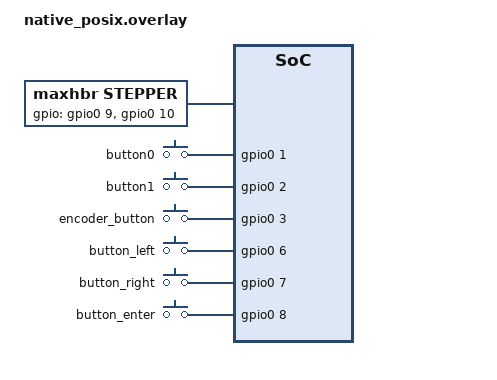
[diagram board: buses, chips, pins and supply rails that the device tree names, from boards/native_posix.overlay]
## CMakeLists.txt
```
# SPDX-License-Identifier: Apache-2.0

cmake_minimum_required(VERSION 3.20.0)

set(CMAKE_C_FLAGS -lstdc++)
set(CMAKE_CXX_FLAGS -lstdc++)

set(BOARD xiao_nrf54l15/nrf54l15/cpuapp)

# Add DTS bindings path BEFORE find_package(Zephyr)
list(APPEND DTS_ROOT ${CMAKE_CURRENT_SOURCE_DIR}/../lib/stepper_with_target)
list(APPEND DTS_ROOT ${CMAKE_CURRENT_SOURCE_DIR}/boards)

# Add shield root BEFORE find_package(Zephyr)
list(APPEND BOARD_ROOT ${CMAKE_CURRENT_SOURCE_DIR})

# Capture Git commit hash before find_package
execute_process(
  COMMAND git rev-parse --short HEAD
  WORKING_DIRECTORY ${CMAKE_CURRENT_SOURCE_DIR}
  OUTPUT_VARIABLE GIT_COMMIT_HASH
  OUTPUT_STRIP_TRAILING_WHITESPACE
  ERROR_QUIET
)
if(NOT GIT_COMMIT_HASH)
  set(GIT_COMMIT_HASH "unknown")
else()
    # Optionally detect if the working tree is dirty
    execute_process(
        COMMAND git diff --quiet --ignore-submodules HEAD
        RESULT_VARIABLE GIT_DIRTY
    )

    if (GIT_DIRTY EQUAL 1)
        set(GIT_COMMIT_HASH "${GIT_COMMIT_HASH}-dirty")
    endif()
endif()

find_package(Zephyr REQUIRED HINTS $ENV{ZEPHYR_BASE})
project(zephyr-rail)

# Define BUILD_COMMIT as a string macro
add_compile_definitions(BUILD_COMMIT="${GIT_COMMIT_HASH}")

zephyr_library_compile_options(-lstdc++ -std=c++17 -fpermissive)

# Add the sony_remote library
add_subdirectory(../lib/sony_remote ${CMAKE_CURRENT_BINARY_DIR}/sony_remote)

# Add stepper_with_target library (includes the driver)
add_subdirectory(../lib/stepper_with_target ${CMAKE_CURRENT_BINARY_DIR}/stepper_with_target)

FILE(GLOB app_sources src/*.cpp)

if(NOT CONFIG_BT)
    list(FILTER app_sources EXCLUDE REGEX "pwa_service\\.cpp$")
endif()

target_sources(app PRIVATE ${app_sources})

# Link the libraries
target_link_libraries(app PRIVATE sony_remote stepper_with_target)
```

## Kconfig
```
# SPDX-License-Identifier: Apache-2.0

source "Kconfig.zephyr"

rsource "drivers/Kconfig"
```

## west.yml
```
# Auto-generated by init.sh, Do not edit!
manifest:
  defaults:
    remote: zephyrproject-rtos
  remotes:
    - name: zephyrproject-rtos
      url-base: https://github.com/zephyrproject-rtos
  projects:
    - name: zephyr
      remote: zephyrproject-rtos
      revision: 9421b826994788e717e7010a46d38b3722bf2c6f # generated from flake.nix
      clone-depth: 1
      import: true
  self:
    path: app
```

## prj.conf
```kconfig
CONFIG_CPP=y
CONFIG_REQUIRES_FULL_LIBCPP=y
CONFIG_STD_CPP17=y
CONFIG_CBPRINTF_FP_SUPPORT=y

CONFIG_LOG=y
CONFIG_SHELL=y
CONFIG_CONSOLE=y
CONFIG_UART_CONSOLE=y
CONFIG_SERIAL=y
# CONFIG_LOG_BACKEND_UART=y

###############################################################################
### Stepper
CONFIG_STEPPER=y
CONFIG_SIMPLE_STEPPER=y
# CONFIG_STEPPER_SHELL=y
CONFIG_GPIO=y
CONFIG_POLL=y

###############################################################################
### Bluetooth
CONFIG_BT=y
CONFIG_BT_CENTRAL=y
CONFIG_BT_PERIPHERAL=y
CONFIG_BT_GATT_CLIENT=y
CONFIG_BT_DEVICE_NAME="ZephyrRail"

# Support multiple connections (1 for PWA, 1 for Sony camera)
CONFIG_BT_MAX_CONN=2
CONFIG_BT_MAX_PAIRED=2
CONFIG_BT_EXT_ADV=y
CONFIG_BT_EXT_ADV_MAX_ADV_SET=2

# Enable pairing and bonding
CONFIG_BT_SMP=y
CONFIG_BT_BONDABLE=y
CONFIG_BT_SMP_SC_PAIR_ONLY=y

# Enable SMP debugging
# CONFIG_BT_SMP_LOG_LEVEL_DBG=y

# Persist bonds so the camera reconnects automatically
CONFIG_SETTINGS=y
CONFIG_BT_SETTINGS=y

###############################################################################
### State machine framework
CONFIG_SMF=y
CONFIG_SMF_ANCESTOR_SUPPORT=y

###############################################################################
### zbus
CONFIG_ZBUS=y
# CONFIG_ZBUS_LOG_LEVEL_INF=y
CONFIG_ZBUS_CHANNEL_NAME=y
CONFIG_ZBUS_OBSERVER_NAME=y
CONFIG_ZBUS_RUNTIME_OBSERVERS=y
```

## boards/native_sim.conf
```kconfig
# CONFIG_SHELL=y
# CONFIG_SHELL_BACKEND_SERIAL=y
CONFIG_NATIVE_UART_0_ON_STDINOUT=y
CONFIG_SHELL_BACKEND_SERIAL_INTERRUPT_DRIVEN=n
# # CONFIG_SHELL_BACKEND_DUMMY=y
CONFIG_STEPPER=y
# Disable fake stepper driver to avoid FFF dependency
CONFIG_FAKE_STEPPER=n

# Disable all other log backends
CONFIG_LOG_BACKEND_NATIVE_POSIX=n
CONFIG_LOG_BACKEND_UART=n
CONFIG_LOG_BACKEND_RTT=n

CONFIG_BT=n
```

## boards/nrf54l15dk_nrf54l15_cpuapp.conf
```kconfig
CONFIG_BT_DEVICE_NAME="ZephyrRailNRF54L15DK"

# General settings
CONFIG_HEAP_MEM_POOL_SIZE=16384
CONFIG_MAIN_STACK_SIZE=4096
CONFIG_SYSTEM_WORKQUEUE_STACK_SIZE=4096

# Increase BT stack sizes
CONFIG_BT_RX_STACK_SIZE=2048

# Additional BT settings for stability
CONFIG_BT_BUF_ACL_RX_SIZE=251
CONFIG_BT_BUF_ACL_TX_SIZE=251
CONFIG_BT_L2CAP_TX_MTU=247
CONFIG_BT_BUF_ACL_TX_COUNT=6
CONFIG_BT_BUF_ACL_RX_COUNT_EXTRA=5
CONFIG_BT_L2CAP_TX_BUF_COUNT=6


# Controller side
CONFIG_BT_CTLR_ADV_EXT=y
CONFIG_BT_CTLR_ADV_SET=2
          # match or exceed host’s value


# # HCI/ACL buffers (tune upward if you move more data or have more links)
# CONFIG_BT_BUF_RX_SIZE=251

# Event buffers
CONFIG_BT_BUF_EVT_RX_COUNT=12
CONFIG_BT_BUF_EVT_DISCARDABLE_COUNT=8
```

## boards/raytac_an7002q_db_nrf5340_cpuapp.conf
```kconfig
CONFIG_BT_DEVICE_NAME="ZephyrRailAN7002Q"

# General settings
CONFIG_HEAP_MEM_POOL_SIZE=16384
CONFIG_MAIN_STACK_SIZE=4096
CONFIG_SYSTEM_WORKQUEUE_STACK_SIZE=4096

# Increase BT stack sizes
CONFIG_BT_RX_STACK_SIZE=2048

# Additional BT settings for stability
CONFIG_BT_BUF_ACL_RX_SIZE=251
CONFIG_BT_BUF_ACL_TX_SIZE=251
CONFIG_BT_L2CAP_TX_MTU=247
CONFIG_BT_BUF_ACL_TX_COUNT=6
CONFIG_BT_BUF_ACL_RX_COUNT_EXTRA=5
CONFIG_BT_L2CAP_TX_BUF_COUNT=6


# Controller side
CONFIG_BT_CTLR_ADV_EXT=y
CONFIG_BT_CTLR_ADV_SET=2
          # match or exceed host’s value


# # HCI/ACL buffers (tune upward if you move more data or have more links)
# CONFIG_BT_BUF_RX_SIZE=251

# Event buffers
CONFIG_BT_BUF_EVT_RX_COUNT=12
CONFIG_BT_BUF_EVT_DISCARDABLE_COUNT=8
```

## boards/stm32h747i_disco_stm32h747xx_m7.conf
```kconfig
# CONFIG_USE_SEGGER_RTT=y
# CONFIG_RTT_CONSOLE=y
# CONFIG_LOG_BACKEND_RTT=y
CONFIG_UART_CONSOLE=y
CONFIG_SERIAL=y
CONFIG_LOG_BACKEND_UART=y

# ##############################################################################
# ### bluetooth
# # Bluetooth Central with bonding & GATT client
# CONFIG_BT=y
# CONFIG_BT_CENTRAL=y
# CONFIG_BT_SMP=y                 # pairing/bonding
# CONFIG_BT_GATT_CLIENT=y

# # Persist bonds so the camera reconnects automatically
# CONFIG_SETTINGS=y
# CONFIG_BT_SETTINGS=y
```

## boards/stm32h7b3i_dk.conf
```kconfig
# CONFIG_USE_SEGGER_RTT=y
# CONFIG_RTT_CONSOLE=y
# CONFIG_LOG_BACKEND_RTT=y
CONFIG_UART_CONSOLE=y
CONFIG_SERIAL=y
CONFIG_LOG_BACKEND_UART=y

###############################################################################
### bluetooth
# Bluetooth Central with bonding & GATT client
CONFIG_BT=y
CONFIG_BT_CENTRAL=y
CONFIG_BT_SMP=y                 # pairing/bonding
CONFIG_BT_GATT_CLIENT=y

# Persist bonds so the camera reconnects automatically
CONFIG_SETTINGS=y
CONFIG_BT_SETTINGS=y
```

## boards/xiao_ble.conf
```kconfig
CONFIG_BT_DEVICE_NAME="ZephyrRailXble"

CONFIG_MAIN_STACK_SIZE=4096
CONFIG_SYSTEM_WORKQUEUE_STACK_SIZE=4096
CONFIG_HEAP_MEM_POOL_SIZE=16384
# CONFIG_HEAP_MEM_POOL_SIZE=55120

# Controller side
CONFIG_BT_CTLR_ADV_EXT=y
CONFIG_BT_CTLR_ADV_SET=2
          # match or exceed host’s value


# # HCI/ACL buffers (tune upward if you move more data or have more links)
CONFIG_BT_BUF_ACL_TX_SIZE=251
CONFIG_BT_BUF_ACL_RX_SIZE=251
CONFIG_BT_BUF_ACL_TX_COUNT=11
CONFIG_BT_BUF_ACL_RX_COUNT_EXTRA=11
CONFIG_BT_L2CAP_TX_MTU=247
CONFIG_BT_L2CAP_TX_BUF_COUNT=12

# Event buffers
CONFIG_BT_BUF_EVT_RX_COUNT=12
CONFIG_BT_BUF_EVT_DISCARDABLE_COUNT=8
```

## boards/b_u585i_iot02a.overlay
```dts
/*
 *
 * SPDX-License-Identifier: Apache-2.0
 */
/ {
    stepper: stepper {
        compatible = "maxhbr,stepper";
        gpios = <&gpiog 7 GPIO_ACTIVE_HIGH>, /* Pmod 8 */
                <&gpioe 4 GPIO_ACTIVE_HIGH>; /* Pmod 7 */
        // pitch = <2>;
        // pulses_per_rev = <50000>;
    };

    //    pwmleds {
        //        compatible = "pwm-leds";
        //        ir_pwm_led: ir_pwm_led {
            //            pwms = <&pwm8 4 4 PWM_POLARITY_NORMAL>;
            //            label = "IR LED - D3";
        //        };
    //    };

    //    chosen {
        //        rail,pwmir = &ir_pwm_led;
    //    };
};
```

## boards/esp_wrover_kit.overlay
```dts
/*
 *
 * SPDX-License-Identifier: Apache-2.0
 */
//#include <zephyr/dt-bindings/input/input-event-codes.h>
//#include <zephyr/dt-bindings/lvgl/lvgl.h>
/ {
    stepper: stepper {
        compatible = "maxhbr,stepper";
        gpios = <&gpio0 2 GPIO_ACTIVE_HIGH>, /* "Green - LED1" */
                <&gpio0 0 GPIO_ACTIVE_HIGH>;     /* Red - LED2 */
        //pitch = <2>;
        //pulses_per_rev = <50000>;
    };
};

&ili9341 {
  width = <320>;
  height = <240>;
  rotation = <90>;
};
```

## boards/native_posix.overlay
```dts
/*
 * Copyright (c) 2022, Basalte bv
 *
 * SPDX-License-Identifier: Apache-2.0
 */

#include <zephyr/dt-bindings/input/input-event-codes.h>
#include <zephyr/dt-bindings/lvgl/lvgl.h>

/ {
	aliases {
		sw0 = &button0;
	};

	stepper: stepper {
		compatible = "maxhbr,stepper";
		gpios = <&gpio0 9 GPIO_ACTIVE_HIGH>, /* A2/D2 */
		        <&gpio0 10 GPIO_ACTIVE_HIGH>;    /* A3/D3 */
		//pitch = <2>;
		//pulses_per_rev = <50000>;
	};

	keys: keys {
		compatible = "gpio-keys";
		button0: button0 {
			/* gpio0 pin 0 is already aliased to led0 */
			gpios = <&gpio0 1 GPIO_ACTIVE_HIGH>;
			zephyr,code = <INPUT_KEY_R>;
		};

		button1: button1 {
			gpios = <&gpio0 2 GPIO_ACTIVE_HIGH>;
			zephyr,code = <INPUT_KEY_B>;
		};

		encoder_button: encoder_button {
			gpios = <&gpio0 3 GPIO_ACTIVE_HIGH>;
			zephyr,code = <INPUT_KEY_0>;
		};

		button_left: button_left {
			gpios = <&gpio0 6 GPIO_ACTIVE_HIGH>;
			zephyr,code = <INPUT_KEY_LEFT>;
		};

		button_right: button_right {
			gpios = <&gpio0 7 GPIO_ACTIVE_HIGH>;
			zephyr,code = <INPUT_KEY_RIGHT>;
		};

		button_enter: button_enter {
			gpios = <&gpio0 8 GPIO_ACTIVE_HIGH>;
			zephyr,code = <INPUT_KEY_ENTER>;
		};
	};

	lvgl_button_input {
		compatible = "zephyr,lvgl-button-input";
		input = <&keys>;
		input-codes = <INPUT_KEY_B>;
		coordinates = <160 120>;
	};

	lvgl_encoder_input {
		compatible = "zephyr,lvgl-encoder-input";
		rotation-input-code = <INPUT_REL_WHEEL>;
		button-input-code = <INPUT_KEY_0>;
	};

	lvgl_keypad_input {
		compatible = "zephyr,lvgl-keypad-input";
		input = <&keys>;
		input-codes = <INPUT_KEY_LEFT INPUT_KEY_RIGHT INPUT_KEY_ENTER>;
		lvgl-codes = <LV_KEY_LEFT LV_KEY_RIGHT LV_KEY_ENTER>;
	};
};

&gpio0 {
	ngpios = <11>;

	sdl_gpio {
		status = "okay";
		compatible = "zephyr,gpio-emul-sdl";
		/* Skip pin 0 with the unknown code 0 */
		scancodes = <0 21 5 30 31 32 80 79 40 90 91>;
	};
};
```

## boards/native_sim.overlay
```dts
/*
 *
 * SPDX-License-Identifier: Apache-2.0
 */

/ {
	stepper_motor: stepper_motor {
		compatible = "simple-stepper";
		status = "okay";
		/* Mock pins for native simulation */
		step-gpios = <&gpio0 0 GPIO_ACTIVE_HIGH>;
		dir-gpios = <&gpio0 1 GPIO_ACTIVE_HIGH>;
		en-gpios = <&gpio0 2 GPIO_ACTIVE_LOW>;
		step-width-ns = <2500>;
		micro-step-res = <256>;
	};
};
```

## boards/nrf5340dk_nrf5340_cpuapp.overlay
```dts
/*
 *
 * SPDX-License-Identifier: Apache-2.0
 */
/ {
    stepper: stepper {
        compatible = "maxhbr,stepper";
        gpios = <&gpio0 30 GPIO_ACTIVE_LOW>, /* led2 */
                <&gpio0 31 GPIO_ACTIVE_LOW>; /* led3 */
        // pitch = <2>;
        // pulses_per_rev = <50000>;
    };

    pwmleds {
        compatible = "pwm-leds";
        ir_pwm_led: ir_pwm_led {
            pwms = <&sw_pwm 0 PWM_MSEC(20) PWM_POLARITY_INVERTED>;
            label = "IR LED";
        };
    };

    chosen {
        rail,pwmir = &ir_pwm_led;
    };
};
```

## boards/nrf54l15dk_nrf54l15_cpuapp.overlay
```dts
/*
 * nRF54L15DK overlay
 * SPDX-License-Identifier: Apache-2.0
 */

/ {
	stepper_motor: stepper_motor {
		compatible = "simple-stepper";
		status = "okay";
		step-gpios = <&gpio1 11 GPIO_ACTIVE_HIGH>;    /* Step/Clock signal (STCK1) */
		dir-gpios = <&gpio1 14 GPIO_ACTIVE_HIGH>;     /* Direction signal (DIR1) */
		en-gpios = <&gpio1 10 GPIO_ACTIVE_LOW>;       /* Enable/Standby signal (STBY) - active low */
		step-width-ns = <2500>;
		micro-step-res = <256>;
	};
};
```

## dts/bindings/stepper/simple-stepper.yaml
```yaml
# SPDX-License-Identifier: Apache-2.0

description: |
  Simple Step/Direction Stepper Motor Driver with Enable Pin
  
  This is a minimal stepper driver for basic step/direction/enable stepper controllers.
  It provides simple control of stepper motors using three GPIO pins:
  - step: pulse signal for stepping
  - dir: direction control (high=positive, low=negative)
  - en: enable pin (active low by default, configurable via GPIO flags)
  
  Example (normal mode, active-low enable):
    stepper: stepper {
      compatible = "simple-stepper";
      status = "okay";
      step-gpios = <&gpio1 5 GPIO_ACTIVE_HIGH>;
      dir-gpios = <&gpio1 7 GPIO_ACTIVE_HIGH>;
      en-gpios = <&gpio1 9 GPIO_ACTIVE_LOW>;
      micro-step-res = <16>;
    };
  
  Example (inverted mode for ULN2003A driver):
    stepper: stepper {
      compatible = "simple-stepper";
      status = "okay";
      step-gpios = <&gpio1 5 GPIO_ACTIVE_HIGH>;
      dir-gpios = <&gpio1 7 GPIO_ACTIVE_HIGH>;
      en-gpios = <&gpio1 9 GPIO_ACTIVE_HIGH>;
      micro-step-res = <16>;
      invert-pins;
    };

compatible: "simple-stepper"

include:
  - name: stepper-controller.yaml

properties:
  invert-pins:
    type: boolean
    description: |
      Invert the logic of the enable pin.
      Set this to true when using drivers like ULN2003A or transistors that invert the signal.
      When true: low=disable, high=enable
      When false (default): low=enable, high=disable
```

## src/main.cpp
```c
#include <zephyr/device.h>
#include <zephyr/drivers/gpio.h>
#include <zephyr/drivers/stepper.h>
#include <zephyr/kernel.h>
#include <zephyr/logging/log.h>
#ifdef CONFIG_BT
#include "bluetooth.h"
#else
#include "sony_remote/fake_sony_remote.h"
#endif

#ifdef CONFIG_SHELL
#include "shell.h"
#endif
#include "StateMachine.h"
#include "stepper_with_target/StepperWithTarget.h"

#ifdef CONFIG_BT
#include "sony_remote/sony_remote.h"
#else
#include "sony_remote/fake_sony_remote.h"
#endif

LOG_MODULE_REGISTER(main, LOG_LEVEL_INF);

#define STEPPER_NODE DT_NODELABEL(stepper_motor)
#define LED0_NODE DT_ALIAS(led0)

static StepperWithTarget *init_stepper(void) {
  int ret;
  const struct device *stepper_dev = DEVICE_DT_GET(STEPPER_NODE);

  if (!device_is_ready(stepper_dev)) {
    LOG_ERR("Stepper device is not ready");
    return nullptr;
  }

  LOG_INF("Stepper device is ready");

  uint32_t micro_step_res = DT_PROP(STEPPER_NODE, micro_step_res);

  static StepperWithTarget stepper(stepper_dev, 1, 200 * micro_step_res);

  ret = stepper.enable();
  if (ret < 0) {
    LOG_ERR("Failed to enable stepper: %d", ret);
    return nullptr;
  }

  return &stepper;
}

static struct k_timer led_blink_timer;
static const struct gpio_dt_spec *async_led = nullptr;
static int blink_phase = 0;

static void led_blink_timer_handler(struct k_timer *timer) {
  if (async_led && gpio_is_ready_dt(async_led)) {
    if (blink_phase == 1) {
      gpio_pin_set(async_led->port, async_led->pin, 1);
      blink_phase = 0;
      k_timer_stop(&led_blink_timer);
    }
  }
}

static void init_async_led(const struct gpio_dt_spec *led) {
  async_led = led;
  blink_phase = 0;
  k_timer_init(&led_blink_timer, led_blink_timer_handler, nullptr);
  if (async_led && gpio_is_ready_dt(async_led)) {
    gpio_pin_set(async_led->port, async_led->pin, 1);
  }
}

static void trigger_async_led_blink(int blink_duration_ms) {
  if (async_led && gpio_is_ready_dt(async_led) && blink_phase == 0) {
    gpio_pin_set(async_led->port, async_led->pin, 0);
    blink_phase = 1;
    k_timer_start(&led_blink_timer, K_MSEC(blink_duration_ms), K_NO_WAIT);
  }
}

static void stop_async_led() {
  k_timer_stop(&led_blink_timer);
  if (async_led && gpio_is_ready_dt(async_led)) {
    gpio_pin_set(async_led->port, async_led->pin, 0);
  }
}

int main(void) {
  int32_t ret;
  static const struct gpio_dt_spec led = GPIO_DT_SPEC_GET(LED0_NODE, gpios);
  const struct device *led_dev = nullptr;

  if (gpio_is_ready_dt(&led)) {
    ret = gpio_pin_configure_dt(&led, GPIO_OUTPUT_INACTIVE);
    if (ret >= 0) {
      led_dev = led.port;
    }
  }

  init_async_led(&led);
  trigger_async_led_blink(100);
  k_msleep(200);

#ifdef CONFIG_BT
  SonyRemote *remote = init_bluetooth();
  if (!remote) {
    LOG_ERR("Failed to initialize Bluetooth");
    return -1;
  }
#else
  LOG_INF("initialize Dummy Sony Remote ...");
  SonyRemote *remote;
#endif

  trigger_async_led_blink(100);
  k_msleep(200);
  trigger_async_led_blink(100);
  k_msleep(200);

  LOG_INF("initialize stepper ...");
  StepperWithTarget *stepper = init_stepper();
  if (stepper == nullptr) {
    LOG_ERR("Failed to initialize stepper");
    return -1;
  }

#ifdef CONFIG_BT
  StateMachine sm(stepper, remote);
#else
  StateMachine sm(stepper, remote);
#endif

#ifdef BUILD_COMMIT
  LOG_INF("Build commit: %s", BUILD_COMMIT);
#endif

  LOG_INF("entering main loop ...");
  while (1) {
    LOG_DBG("loop...");
    trigger_async_led_blink(50);
    ret = sm.run_state_machine();
    if (ret) {
      break;
    }
  }

  stop_async_led();
  remote->end();

  return 0;
}

#ifdef CONFIG_SHELL
#endif
```

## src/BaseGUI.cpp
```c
#include "BaseGUI.h"
#include <zephyr/kernel.h>
#include <zephyr/logging/log.h>

LOG_MODULE_REGISTER(base_gui, LOG_LEVEL_INF);

static BaseGUI *g_gui = nullptr;

static void gui_thread_func(void *arg1, void *arg2, void *arg3) {
  // LVGL operations must be performed from the main LVGL thread.
  ARG_UNUSED(arg1);
  ARG_UNUSED(arg2);
  ARG_UNUSED(arg3);

  LOG_INF("GUI thread waiting...");
  k_sleep(K_MSEC(100));

  while (g_gui == nullptr) {
    k_sleep(K_MSEC(40));
    LOG_INF("GUI thread still waiting...");
  }
  k_sleep(K_MSEC(100));

  LOG_INF("GUI thread started");

  while (1) {
    g_gui->run_task_handler();
    k_sleep(K_MSEC(200)); // Run at ~50Hz
  }
}

K_THREAD_DEFINE(logging_gui_thread_id, 8096, gui_thread_func, NULL, NULL, NULL,
                7, 0, 0);

// Constructor
BaseGUI::BaseGUI()
    : display_dev(nullptr), main_screen(nullptr), status_label(nullptr),
      tabview(nullptr) {}

// Destructor
BaseGUI::~BaseGUI() { deinit(); }

void BaseGUI::init_tabview(lv_obj_t *parent) {
  tabview = lv_tabview_create(parent);
  lv_obj_set_size(tabview, LV_HOR_RES, LV_VER_RES - 30);
  lv_obj_align(tabview, LV_ALIGN_BOTTOM_MID, 0, 0);
  // lv_tabview_set_tab_bar_size(tabview, 22);
  lv_tabview_set_tab_bar_position(tabview, LV_DIR_LEFT);
  lv_tabview_set_tab_bar_size(tabview, 60);
}

// Initialize the GUI
bool BaseGUI::init() {
  LOG_INF("Initializing BaseGUI");

  // Get display device
  display_dev = DEVICE_DT_GET(DT_CHOSEN(zephyr_display));
  if (!device_is_ready(display_dev)) {
    LOG_ERR("Display device not ready");
    return false;
  }

  // Get current screen
  main_screen = lv_scr_act();

  init_tabview(main_screen);

  // Set background color
  // lv_obj_set_style_bg_color(main_screen, lv_color_black(), 0);

  status_label = lv_label_create(main_screen);
  lv_label_set_text(status_label, "Zephyr Rail Ready");
  lv_obj_align(status_label, LV_ALIGN_TOP_MID, 0, 10);
  // lv_obj_set_style_text_color(status_label, lv_color_white(), 0);

  g_gui = this;

  LOG_INF("BaseGUI initialized successfully");

  return true;
}

void BaseGUI::start() {
  lv_timer_handler();
  k_sleep(K_MSEC(20));
  display_blanking_off(display_dev);
}

// Deinitialize the GUI
void BaseGUI::deinit() {
  // Objects are automatically cleaned up by LVGL
  main_screen = nullptr;
  status_label = nullptr;
  tabview = nullptr;
  g_gui = nullptr;
}
// Set main status
void BaseGUI::set_status(const char *status) {
  if (!status)
    return;

  if (status_label) {
    lv_label_set_text(status_label, status);
  }
  LOG_DBG("Status: %s", status);
}

void BaseGUI::run_task_handler() {
  lv_task_handler();
  lv_timer_handler();
}
```

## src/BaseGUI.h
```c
#pragma once

#include <stdbool.h>
#include <stdio.h>
#include <string.h>
#include <zephyr/device.h>
#include <zephyr/drivers/display.h>
#include <zephyr/kernel.h>

// Include the status structures
#include "Stack.h"
#include "StateMachine.h"
#include "StepperWithTarget.h"

// Conditional LVGL includes
#include <lvgl.h>

class BaseGUI {
protected:
  const struct device *display_dev;

  lv_obj_t *main_screen;
  lv_obj_t *status_label;
  lv_obj_t *tabview;

  // Protected initialization methods
  void init_tabview(lv_obj_t *parent);

public:
  BaseGUI();
  virtual ~BaseGUI();

  // Initialization and lifecycle
  virtual bool init();
  virtual void start();
  virtual void deinit();
  virtual void run_task_handler();

  void set_status(const char *status);
};
```

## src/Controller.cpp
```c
#include "Controller.h"
#include <zephyr/logging/log.h>
LOG_MODULE_REGISTER(controller);

K_SEM_DEFINE(_work_in_progress_sem, 1, 1);
Controller::Controller(Model *_model, IrSony *_irsony)
    : model{_model}, irsony{_irsony}
{
  work_in_progress_sem = &_work_in_progress_sem;
}

void Controller::work()
{
  if (k_sem_take(work_in_progress_sem, K_MSEC(50)) != 0)
  {
    LOG_WRN("work, but semaphore is not availablel");
    return;
  }
  /* if (model->is_stack_in_progress() && model->is_in_target_position()) */
  /* { */
  /*   do_next_stack_step(); */
  /* } */
  k_sem_give(work_in_progress_sem);
}

void Controller::go(int dist) { model->go(dist); }
void Controller::go_to(int target_position)
{
  model->set_target_position(target_position);
}
void Controller::go_to_upper_bound()
{
  model->set_target_position(model->get_upper_bound());
}
void Controller::go_to_lower_bound()
{
  model->set_target_position(model->get_lower_bound());
}

void Controller::set_new_upper_bound()
{
  model->set_upper_bound(model->get_target_position());
  /* prepare_stack(); */
}

void Controller::set_new_lower_bound()
{
  model->set_lower_bound(model->get_target_position());
  /* prepare_stack(); */
}

void Controller::set_step_number(int step_number)
{
  /* model->set_step_number(step_number); */
  /* prepare_stack(); */
}

void Controller::handle_controller_msg(const struct controller_msg *msg)
{
  switch (msg->action)
  {
  case NOOP_CONTROLLER_ACTION:
    break;
  case GO_CONTROLLER_ACTION:
    go(msg->value);
    break;
  case GO_TO_CONTROLLER_ACTION:
    go_to(msg->value);
    break;
  case SET_NEW_LOWER_BOUND_ACTION:
    set_new_lower_bound();
    break;
  case SET_NEW_UPPER_BOUND_ACTION:
    set_new_upper_bound();
    break;
  default:
    LOG_ERR("unknown action: %i", msg->action);
    break;
  }
}

void Controller::synchronize_and_sleep(k_timeout_t timeout)
{
  k_sleep(K_MSEC(10));

  k_sleep(timeout);
}

void Controller::prepare_stack()
{
  /* if (model->is_stack_in_progress()) */
  /* { */
  /*   LOG_WRN("tried to prepare while stack was in progress"); */
  /*   return; */
  /* } */

  /* int cur_position = model->get_cur_position(); */
  /* int upper_bound = model->get_upper_bound(); */
  /* int lower_bound = model->get_lower_bound(); */

  /* int start, stop; */
  /* if (abs(lower_bound - cur_position) < abs(upper_bound - cur_position)) */
  /* { */
  /*   start = lower_bound; */
  /*   stop = upper_bound; */
  /* } */
  /* else */
  /* { */
  /*   start = upper_bound; */
  /*   stop = lower_bound; */
  /* } */

  /* int step_number = model->get_step_number(); */
  /* LOG_INF("prepare_stack: %d -> %d, #=%d", start, stop, step_number); */

  /* int distance = stop - start; */
  /* int stack_step_jump = distance / step_number; */
  /* if (stack_step_jump == 0) */
  /* { */
  /*   LOG_WRN("step_jump of 0"); */
  /*   return; */
  /* } */
  /* int i; */
  /* for (i = 0; i < (step_number - 1); i++) */
  /* { */
  /*   model->set_step_position(i, start + i * stack_step_jump); */
  /* } */
  /* model->set_step_position(step_number - 1, stop); */
}

void Controller::start_stack()
{
  /* if (model->is_stack_in_progress()) */
  /* { */
  /*   LOG_WRN("start_stack, stack already running"); */
  /* } */
  /* else */
  /* { */
  /*   LOG_INF("start_stack"); */
  /*   /1* std::optional<int> start_position = model->get_next_step_and_increment(); *1/ */
  /*   /1* if (!start_position.has_value()) *1/ */
  /*   /1* { *1/ */
  /*   /1*   LOG_ERR("stacking start failed"); *1/ */
  /*   /1*   return; *1/ */
  /*   /1* } *1/ */
  /*   /1* go_to(start_position.value()); *1/ */
  /*   /1* model->set_stack_in_progress(true); *1/ */
  /* } */
}

void Controller::stop_stack()
{
  LOG_INF("stop_stack");
  /* model->set_stack_in_progress(false); */
}

void Controller::do_next_stack_step()
{
  /* if (!model->is_stack_in_progress()) */
  /* { */
  /*   LOG_ERR("stacking, but not in progress"); */
  /*   return; */
  /* } */

  /* if (!model->is_in_target_position()) */
  /* { */
  /*   LOG_WRN("stacking, but not yet in target position"); */
  /*   return; */
  /* } */

  /* LOG_INF("stacking, waiting"); */
  /* k_sleep(K_MSEC(2000)); */
  /* LOG_INF("stacking, take pickture"); */
  /* irsony->shoot(); */
  /* k_sleep(K_MSEC(500)); */

  /* std::optional<int> next_position = model->get_next_step_and_increment(); */
  /* if (!next_position.has_value()) */
  /* { */
  /*   LOG_INF("stacking, finished"); */
  /*   return; */
  /* } */
  /* LOG_INF("stacking, next is %d", next_position.value()); */

  /* go_to(next_position.value()); */
}
```

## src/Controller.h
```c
#ifndef __CONTROLLER_H_
#define __CONTROLLER_H_

#include <zephyr/device.h>
#include <zephyr/init.h>
#include <stdbool.h>
#include <stdio.h>
#include <stdlib.h>
#include <string.h>
#include <zephyr/kernel.h>
#include <zephyr/types.h>

#include <zephyr/drivers/display.h>
#include <lvgl.h>

#include <zephyr/logging/log.h>

#include "IrSony.h"
#include "Model.h"


#define NOOP_CONTROLLER_ACTION 0
#define GO_CONTROLLER_ACTION 1
#define GO_TO_CONTROLLER_ACTION 2
#define SET_NEW_LOWER_BOUND_ACTION 3
#define SET_NEW_UPPER_BOUND_ACTION 4

struct controller_msg
{
  int action;
  int value;
};

class Controller
{
  Model *model;
  IrSony *irsony;
  struct k_sem *work_in_progress_sem;

public:
  Controller(Model *_model, IrSony *_irsony);
  void work();

  void go(int dist);
  void go_to(int target_position);
  void go_to_upper_bound();
  void go_to_lower_bound();
  void set_new_upper_bound();
  void set_new_lower_bound();
  void set_step_number(int step_number);

  void handle_controller_msg(const struct controller_msg *msg);

  void synchronize_and_sleep(k_timeout_t timeout);

  void prepare_stack();
  void start_stack();
  void stop_stack();
  void do_next_stack_step();
};

#endif // __CONTROLLER_H_
```

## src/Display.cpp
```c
#include "Display.h"
#include <zephyr/logging/log.h>
LOG_MODULE_REGISTER(display);

void Display::init_status_labels(lv_obj_t *parent)
{
  status_label = lv_label_create(parent);
  lv_label_set_text(status_label, "$status");
  lv_obj_align(status_label, LV_ALIGN_TOP_MID, 0, 10);
  status_label_left = lv_label_create(parent);
  lv_label_set_text(status_label_left, "$left");
  lv_obj_align(status_label_left, LV_ALIGN_TOP_LEFT, 0, 0);
  status_label_right = lv_label_create(parent);
  lv_label_set_text(status_label_right, "$right");
  lv_obj_align(status_label_right, LV_ALIGN_TOP_RIGHT, 0, 0);
}

Display::Display()
{
  k_mutex_init(&lvgl_mutex);
  if (!device_is_ready(display_dev))
  {
    LOG_ERR("Device not ready, aborting");
    return;
  }
  LOG_INF("initialize display...");

  lv_group_t * lv_group = lv_group_create();
  lv_group_set_default(lv_group);
#ifdef CONFIG_LV_Z_KEYPAD_INPUT
	lv_indev_set_group(lvgl_input_get_indev(lvgl_keypad), lv_group);
#endif

  init_status_labels(lv_scr_act());

  lv_task_handler();
  display_blanking_off(display_dev);
  lv_task_handler();
  LOG_INF("...initialize display done");
}

void Display::run_task_handler()
{
  k_mutex_lock(&lvgl_mutex, K_FOREVER);
  lv_task_handler();
  k_mutex_unlock(&lvgl_mutex);
}

lv_obj_t *Display::add_container(lv_obj_t *parent, int width, int height)
{
  lv_obj_t *container = lv_win_create(parent, NULL);
  lv_obj_set_size(container, width, height);
  // lv_cont_set_fit(container, LV_FIT_TIGHT);
  // lv_cont_set_layout(container, LV_LAYOUT_COLUMN_MID);
  return container;
}
lv_obj_t *Display::add_label(lv_obj_t *parent)
{
  lv_obj_t *lbl = lv_label_create(parent);
  // lv_obj_add_style(lbl, 0, &style_normal);
  return lbl;
}

lv_obj_t *Display::add_panel(lv_obj_t *parent)
{
  lv_obj_t *panel = lv_obj_create(parent);
  // lv_obj_add_style(panel, 0, &style_box);
  return panel;
}

lv_obj_t *Display::add_button(lv_obj_t *parent, const char *label_text,
                              int width, int height)
{
  lv_obj_t *btn = lv_btn_create(parent);
  lv_obj_set_height(btn, height);
  lv_obj_set_width(btn, width);
  if (label_text != NULL)
  {
    lv_obj_t *label = lv_label_create(btn);
    lv_label_set_text(label, label_text);
    lv_obj_align(label, LV_ALIGN_CENTER, 0, 0);
  }
  return btn;
}

lv_obj_t *Display::add_roller(lv_obj_t *parent, const char *options)
{
  lv_obj_t *roller = lv_roller_create(parent);
  lv_roller_set_options(roller, options, LV_ROLLER_MODE_NORMAL);

  lv_roller_set_visible_row_count(roller, 4);
  return roller;
}

void Display::set_status(const char *status)
{
  lv_label_set_text(status_label, status);
}

void Display::set_status_left(const char *status_left)
{
  lv_label_set_text(status_label_left, status_left);
}

void Display::set_status_right(const char *status_right)
{
  lv_label_set_text(status_label_right, status_right);
}
```

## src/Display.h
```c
#ifndef __DISPLAY_H_
#define __DISPLAY_H_

#include <zephyr/drivers/display.h>
#include <zephyr/kernel.h>
#include <zephyr/device.h>
#include <zephyr/init.h>
#include <zephyr/drivers/display.h>
#include <zephyr/zbus/zbus.h>
#include <lvgl.h>
#include <lvgl_input_device.h>
#include <map>
// #include <sys/mutex.h>

#include "Model.h"
#include "StepperWithTarget.h"
#include "Stepper.h"

#ifdef CONFIG_LV_Z_KEYPAD_INPUT
static const struct device *lvgl_keypad =
	DEVICE_DT_GET(DT_COMPAT_GET_ANY_STATUS_OKAY(zephyr_lvgl_keypad_input));
#endif /* CONFIG_LV_Z_KEYPAD_INPUT */

static struct k_mutex lvgl_mutex;

class Display
{
  const struct device *display_dev = DEVICE_DT_GET(DT_CHOSEN(zephyr_display));

  void init_styles();
  lv_obj_t *tabview;
  void init_tabview(lv_obj_t *parent);
  lv_obj_t *status_label;
  lv_obj_t *status_label_left;
  lv_obj_t *status_label_right;
  void init_status_labels(lv_obj_t *parent);

  const lv_font_t *font_title = &lv_font_montserrat_14;    // _28;
  const lv_font_t *font_subtitle = &lv_font_montserrat_14; // _24;
  const lv_font_t *font_normal = &lv_font_montserrat_14;   // _16;
  const lv_font_t *font_small = &lv_font_montserrat_14;    // _12;

public:
  Display();

  lv_obj_t *make_tab(const char *title);
  lv_obj_t *add_container(lv_obj_t *parent, int width, int heigth);
  lv_obj_t *add_label(lv_obj_t *parent);
  lv_obj_t *add_panel(lv_obj_t *parent);
  lv_obj_t *add_button(lv_obj_t *parent, const char *label_text, int width,
                       int heigth);
  lv_obj_t *add_roller(lv_obj_t *parent, const char *options);
  void set_header_visible(bool is_visible);
  void set_status(const char *status);
  void set_status_left(const char *status_left);
  void set_status_right(const char *status_right);

  void run_task_handler();
};

#endif // __DISPLAY_H_
```

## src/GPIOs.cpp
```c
#include "GPIOs.h"
#include <zephyr/logging/log.h>
LOG_MODULE_REGISTER(gpios, LOG_LEVEL_ERR);

GPIO::GPIO(const struct gpio_dt_spec *_spec, gpio_flags_t extra_flags)
    : spec{_spec} {
  LOG_MODULE_DECLARE(gpios);
  LOG_INF("init gpio %s", spec->port->name);
  if (!gpio_is_ready_dt(spec)) {
    LOG_ERR("gpio %s not ready", spec->port);
    return;
  }

  ret = gpio_pin_configure_dt(spec, GPIO_OUTPUT_ACTIVE);
  if (ret < 0) {
    LOG_ERR("Failed to configure gpio %s (err %i)", spec->port->name, ret);
    return;
  }
}

void GPIO::set(bool value) {
  LOG_MODULE_DECLARE(gpios);
  if (ret == 0) {
    if (value != cur_value) {
      cur_value = value;
      gpio_pin_set_dt(spec, value);
    }
  } else {
    LOG_WRN("Do nothing, since ret=%i", ret);
  }
}
```

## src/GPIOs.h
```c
#ifndef __GPIOS_H_
#define __GPIOS_H_

#include <stdbool.h>
#include <stdio.h>
#include <stdlib.h>
#include <string.h>
#include <zephyr/device.h>
#include <zephyr/init.h>
#include <zephyr/kernel.h>
#include <zephyr/types.h>

#include <zephyr/drivers/gpio.h>

class GPIO {
  const struct gpio_dt_spec *spec;
  const struct device *dev;
  int pin = -1;
  int ret = -1;
  bool cur_value = false;

public:
  GPIO(const struct gpio_dt_spec *_spec, gpio_flags_t extra_flags);
  void set(bool value);
};

class LED : public GPIO {
public:
  LED(const struct gpio_dt_spec *spec) : GPIO(spec, GPIO_OUTPUT_ACTIVE) {
    set(true);
    k_msleep(100);
    set(false);
  };
};

#endif // __GPIOS_H_
```

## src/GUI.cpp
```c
#include "GUI.h"
#include <zephyr/kernel.h>
#include <zephyr/logging/log.h>

LOG_MODULE_REGISTER(gui, LOG_LEVEL_INF);

// // GUI thread function
// static void gui_thread_func(void *arg1, void *arg2, void *arg3) {
//   // LVGL operations must be performed from the main LVGL thread.
//   ARG_UNUSED(arg1);
//   ARG_UNUSED(arg2);
//   ARG_UNUSED(arg3);

//   while (g_gui == nullptr) {
//     k_sleep(K_MSEC(40));
//   }

//   LOG_INF("GUI thread started");

//   // Enable log backend from GUI thread context
//   log_backend_enable(&gui_log_backend, NULL, LOG_LEVEL_INF);

//   while (1) {
//     // Process any pending log messages
//     struct log_msg_item msg;
//     while (k_msgq_get(&log_msgq, &msg, K_NO_WAIT) == 0) {
//       g_gui->add_log_line(msg.data, msg.length);
//     }

//     g_gui->run_task_handler();
//     k_sleep(K_MSEC(20)); // Run at ~50Hz
//   }
// }

// // Define GUI thread with 1KB stack, priority 7
// K_THREAD_DEFINE(logging_gui_thread_id, 1024, logging_gui_thread_func, NULL,
//                 NULL, NULL, 7, 0, 0);

// Constructor
GUI::GUI(const StateMachine *sm) : LoggingGUI() { this->sm = sm; }

bool GUI::init() {
  LOG_INF("Initializing GUI");

  // Initialize base LoggingGUI first
  if (!LoggingGUI::init()) {
    return false;
  }

  add_move_tab();
  add_stack_tab();

  LOG_INF("GUI initialized successfully");
  return true;
}

static const char *btnm_map[] = {"|<", "<",   ">", ">|", "\n",
                                 "v",  "???", "^", ""};

void GUI::add_move_tab() {
  if (!tabview) {
    LOG_ERR("Tabview not initialized, cannot add move tab");
    return;
  }

  lv_obj_t *move_tab = lv_tabview_add_tab(tabview, "Move");

  lv_obj_t *btnm1 = lv_buttonmatrix_create(move_tab);
  lv_buttonmatrix_set_map(btnm1, btnm_map);
  lv_buttonmatrix_set_button_width(btnm1, 1, 2);
  lv_buttonmatrix_set_button_width(btnm1, 2, 2);
  lv_buttonmatrix_set_button_ctrl(btnm1, 5, LV_BUTTONMATRIX_CTRL_DISABLED);
  lv_buttonmatrix_set_button_width(btnm1, 5, 4);
  // lv_buttonmatrix_set_button_ctrl(btnm1, 11, LV_BUTTONMATRIX_CTRL_CHECKED);
  lv_obj_align(btnm1, LV_ALIGN_CENTER, 0, 0);
  lv_obj_set_size(btnm1, LV_PCT(100), LV_PCT(100));
}

void GUI::add_stack_tab() {
  if (!tabview) {
    LOG_ERR("Tabview not initialized, cannot add stack tab");
    return;
  }

  lv_obj_t *stack_tab = lv_tabview_add_tab(tabview, "Stack");
  // Add content to stack_tab as needed
  lv_obj_t *label = lv_label_create(stack_tab);
  lv_label_set_text(label, "Stack Tab Content");
  lv_obj_align(label, LV_ALIGN_CENTER, 0, 0);
}

void GUI::deinit() { LoggingGUI::deinit(); }

void GUI::run_task_handler() {
  struct stepper_with_target_status stepper_status =
      this->sm->get_stepper_status();
  struct stack_status stack_status = this->sm->get_stack_status();

  this->update_status(&stepper_status, &stack_status);
  LoggingGUI::run_task_handler();
}

void GUI::start() { LoggingGUI::start(); }

// Static method to initialize the gui
GUI *GUI::initialize_gui(const StateMachine *sm) {
#ifdef CONFIG_DISPLAY
  static GUI gui(sm);
  if (!gui.init()) {
    LOG_ERR("Failed to initialize GUI");
    return nullptr;
  }

  gui.start();

  LOG_INF("GUI initialized successfully");
  return &gui;
#else
  return nullptr;
#endif
}

// Update GUI with current status
void GUI::update_status(const struct stepper_with_target_status *stepper_status,
                        const struct stack_status *stack_status) {
  if (!stepper_status || !stack_status) {
    return;
  }

  const struct stepper_status inner_stepper_status =
      stepper_status->stepper_status;

  char buf[1000];
  const int pitch_per_rev = inner_stepper_status.pitch_per_rev;
  const int pulses_per_rev = inner_stepper_status.pulses_per_rev;

  const int position_nm = position_as_nm(pitch_per_rev, pulses_per_rev,
                                         inner_stepper_status.position);

  if (stepper_status->is_moving) {
    const int target_position_nm = position_as_nm(
        pitch_per_rev, pulses_per_rev, stepper_status->target_position);
    if (stepper_status->target_position > inner_stepper_status.position) {
      snprintf(buf, sizeof(buf), "%d (-> %d)", position_nm, target_position_nm);
    } else {
      snprintf(buf, sizeof(buf), "(%d <-) %d", target_position_nm, position_nm);
    }
    LOG_DBG("Status: %s", buf);
  } else {
    snprintf(buf, sizeof(buf), "@%dnm", position_nm);
  }
  set_status(buf);
}

int GUI::position_as_nm(int pitch_per_rev, int pulses_per_rev, int position) {
  if (pulses_per_rev == 0)
    return 0;
  return (position * pitch_per_rev * 1000000) / pulses_per_rev;
}
```

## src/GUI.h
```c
#pragma once

#include "LoggingGUI.h"

class GUI : public LoggingGUI {
  const StateMachine *sm;

  void add_move_tab();
  void add_stack_tab();

  virtual void
  update_status(const struct stepper_with_target_status *stepper_status,
                const struct stack_status *stack_status);
  int position_as_nm(int pitch_per_rev, int pulses_per_rev, int position);

public:
  GUI(const StateMachine *sm);
  virtual ~GUI() = default;

  virtual bool init() override;
  virtual void deinit() override;
  virtual void start() override;
  virtual void run_task_handler() override;

  static GUI *initialize_gui(const StateMachine *sm);
};
```

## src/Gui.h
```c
#pragma once

#include <zephyr/device.h>
#include <zephyr/init.h>
#include <stdbool.h>
#include <stdio.h>
#include <stdlib.h>
#include <string.h>
#include <zephyr/zephyr.h>
#include <zephyr/types.h>

#include <zephyr/drivers/display.h>
#include <lvgl.h>

/* #include <map> */

#include "stepper/StepperWithTarget.h"
#include "display/Display.h"
#include "state/Stack.h"
#include "state/StateMachine.h"


class Gui : public Display
{
private:

  int position_as_nm(const int pitch_per_rev, const int pulses_per_rev, const int position);

  
  lv_obj_t *move_tab;
  void fill_move_panel(lv_obj_t *parent);
  lv_obj_t *stack_tab;
  lv_obj_t *config_tab;
  lv_obj_t *status_tab;

  /* void fill_move_panel(lv_obj_t *parent); */
  /* lv_obj_t *pos_label = NULL; */
  /* lv_obj_t *lower_label = NULL; */
  /* lv_obj_t *upper_label = NULL; */
  /* lv_obj_t *step_size_roller = NULL; */
  /* void fill_stack_panel(lv_obj_t *parent); */
  /* lv_obj_t *plan_label = NULL; */
  /* lv_obj_t *step_number_roller = NULL; */
  /* void fill_config_panel(lv_obj_t *parent); */
  /* void fill_status_panel(lv_obj_t *parent); */
  /* lv_obj_t *status_label; */

  /* void update_status_label(const struct model_status status); */

public:
  Gui();

  void update(const struct stepper_with_target_status *stepper_with_target_status,
      const struct stack_status *stack_status);
};
```
